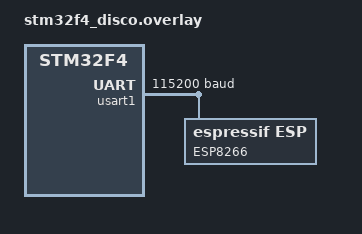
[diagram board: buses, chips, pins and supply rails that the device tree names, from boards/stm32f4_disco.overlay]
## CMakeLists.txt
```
# SPDX-License-Identifier: Apache-2.0

cmake_minimum_required(VERSION 3.13.1)
find_package(Zephyr HINTS $ENV{ZEPHYR_BASE})
project(iotclt_embedded)

target_sources(app PRIVATE
               src/main.c
               src/mqtt_publisher.c
               src/wifi_handling.c)
target_include_directories(app PUBLIC include)
```

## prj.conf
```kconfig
# Allow logging
CONFIG_LOG=y
CONFIG_EARLY_CONSOLE=y

# Turn on stm32f4 uart1
CONFIG_UART_1=y

# Bring in network stack
CONFIG_NETWORKING=y
CONFIG_NET_IPV4=y
CONFIG_NET_IPV6=n
# TCP required for MQTT
CONFIG_NET_TCP=y
CONFIG_NET_SOCKETS=y

CONFIG_NET_CONFIG_LOG_LEVEL_ERR=y

# Allow doing work when network events occur
CONFIG_NET_MGMT_EVENT=y

# ALL THE LOGS!!
#CONFIG_LOG_DEFAULT_LEVEL=4

# needed for `find_available_port`
CONFIG_TEST_RANDOM_GENERATOR=y

# Allow using the ESP as a slave modem
CONFIG_WIFI=y
CONFIG_WIFI_LOG_LEVEL_ERR=y
CONFIG_NET_L2_WIFI_SHELL=y
CONFIG_WIFI_ESP=y
CONFIG_WIFI_ESP_AT_VERSION_1_7=y
CONFIG_WIFI_ESP_AT_VERSION_2_0=n
CONFIG_MODEM_CONTEXT_VERBOSE_DEBUG=y

# MQTT
CONFIG_MQTT_LIB=y

# Network debug config
CONFIG_NET_SHELL=y
CONFIG_NET_LOG=y
CONFIG_NET_STATISTICS=y
CONFIG_NET_STATISTICS_PERIODIC_OUTPUT=n

# Make debugging not painful
# TODO if you disable optimizations you get a stac overflow on the esp worker thread
# To help with this should do something similar to https://github.com/zephyrproject-rtos/zephyr/issues/12820
# Tracking down where this is happening can be made easier with:
#CONFIG_THREAD_STACK_INFO=y
#CONFIG_THREAD_MONITOR=y
#CONFIG_KERNEL_SHELL=y
#CONFIG_INIT_STACKS=y
#CONFIG_THREAD_NAME=y
# TODO FIXME
#CONFIG_NO_OPTIMIZATIONS=y
```

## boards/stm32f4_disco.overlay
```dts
/*
 * Copyright (c) 2020 Eddy Scott
 *
 * SPDX-License-Identifier: Apache-2.0
 */

&usart1 {
	current-speed = <115200>;
	status = "okay";

	at_wfit: esp8266 {
		compatible = "espressif,esp";
		label = "ESP8266";

	};
};
```

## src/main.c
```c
/**
 * COPYRIGHTS AND PERMISSIONS:
 * Copyright 2020 Eddy Scott All rights reserved.

 *  This program is free software: you can redistribute it and/or modify
 *  it under the terms of the GNU General Public License as published by
 *  the Free Software Foundation, either version 3 of the License, or
 *  (at your option) any later version.

 *  This program is distributed in the hope that it will be useful,
 *  but WITHOUT ANY WARRANTY; without even the implied warranty of
 *  MERCHANTABILITY or FITNESS FOR A PARTICULAR PURPOSE.  See the
 *  GNU General Public License for more details.

 *  You should have received a copy of the GNU General Public License
 *  along with this program.  If not, see <https://www.gnu.org/licenses/>.
*/

#include <logging/log.h>
LOG_MODULE_REGISTER(main, LOG_LEVEL_DBG);

#include <zephyr.h>
#include <net/socket.h>
#include <net/mqtt.h>

#include <string.h>
#include <errno.h>
#include <net/wifi_mgmt.h>

#include "config.h"
#include "wifi_handling.h"

/* Buffers for MQTT client. */
static u8_t rx_buffer[APP_MQTT_BUFFER_SIZE];
static u8_t tx_buffer[APP_MQTT_BUFFER_SIZE];

/* The mqtt client struct */
static struct mqtt_client client_ctx;

/* MQTT Broker details. */
static struct sockaddr_storage broker;

static struct pollfd fds[1];
static int nfds;

static bool connected;

static void prepare_fds(struct mqtt_client *client)
{
  if (client->transport.type == MQTT_TRANSPORT_NON_SECURE) {
    fds[0].fd = client->transport.tcp.sock;
  }

  fds[0].events = ZSOCK_POLLIN;
  nfds = 1;
}

static void clear_fds(void)
{
  nfds = 0;
}

static int wait(int timeout)
{
  int ret = 0;

  if (nfds > 0) {
    ret = poll(fds, nfds, timeout);
    if (ret < 0) {
      LOG_ERR("poll error: %d", errno);
    }
  }

  return ret;
}

void mqtt_evt_handler(struct mqtt_client *const client,
                      const struct mqtt_evt *evt)
{
  int err;

  switch (evt->type) {
    case MQTT_EVT_CONNACK:
      if (evt->result != 0) {
        LOG_ERR("MQTT connect failed %d", evt->result);
        break;
      }

      connected = true;
      LOG_INF("MQTT client connected!");

      break;

    case MQTT_EVT_DISCONNECT:
      LOG_INF("MQTT client disconnected %d", evt->result);

      connected = false;
      clear_fds();

      break;

    case MQTT_EVT_PUBACK:
      if (evt->result != 0) {
        LOG_ERR("MQTT PUBACK error %d", evt->result);
        break;
      }

      LOG_INF("PUBACK packet id: %u", evt->param.puback.message_id);

      break;

    case MQTT_EVT_PUBREC:
      if (evt->result != 0) {
        LOG_ERR("MQTT PUBREC error %d", evt->result);
        break;
      }

      LOG_INF("PUBREC packet id: %u", evt->param.pubrec.message_id);

      const struct mqtt_pubrel_param rel_param = {
          .message_id = evt->param.pubrec.message_id
      };

      err = mqtt_publish_qos2_release(client, &rel_param);
      if (err != 0) {
        LOG_ERR("Failed to send MQTT PUBREL: %d", err);
      }

      break;

    case MQTT_EVT_PUBCOMP:
      if (evt->result != 0) {
        LOG_ERR("MQTT PUBCOMP error %d", evt->result);
        break;
      }

      LOG_INF("PUBCOMP packet id: %u",
              evt->param.pubcomp.message_id);

      break;

    case MQTT_EVT_PINGRESP:
      LOG_INF("PINGRESP packet");
      break;

    default:
      break;
  }
}

static char *get_mqtt_payload(enum mqtt_qos qos)
{
#if APP_BLUEMIX_TOPIC
  static char payload[30];

	snprintk(payload, sizeof(payload), "{d:{temperature:%d}}",
		 (u8_t)sys_rand32_get());
#else
  static char payload[] = "DOORS:OPEN_QoSx";

  payload[strlen(payload) - 1] = '0' + qos;
#endif

  return payload;
}

static char *get_mqtt_topic(void)
{
  return "sensors";
}

static int publish(struct mqtt_client *client, enum mqtt_qos qos)
{
  struct mqtt_publish_param param;

  param.message.topic.qos = qos;
  param.message.topic.topic.utf8 = (u8_t *)get_mqtt_topic();
  param.message.topic.topic.size =
      strlen(param.message.topic.topic.utf8);
  param.message.payload.data = get_mqtt_payload(qos);
  param.message.payload.len =
      strlen(param.message.payload.data);
  param.message_id = sys_rand32_get();
  param.dup_flag = 0U;
  param.retain_flag = 0U;

  return mqtt_publish(client, &param);
}

#define RC_STR(rc) ((rc) == 0 ? "OK" : "ERROR")

#define PRINT_RESULT(func, rc) \
	LOG_INF("%s: %d <%s>", (func), rc, RC_STR(rc))

static void broker_init(void)
{
  struct sockaddr_in *broker4 = (struct sockaddr_in *)&broker;

  broker4->sin_family = AF_INET;
  broker4->sin_port = htons(SERVER_PORT);
  inet_pton(AF_INET, SERVER_ADDR, &broker4->sin_addr);
}

static void client_init(struct mqtt_client *client)
{
  mqtt_client_init(client);

  broker_init();

  /* MQTT client configuration */
  client->broker = &broker;
  client->evt_cb = mqtt_evt_handler;
  client->client_id.utf8 = (u8_t *)MQTT_CLIENTID;
  client->client_id.size = strlen(MQTT_CLIENTID);
  client->password = NULL;
  client->user_name = NULL;
  client->protocol_version = MQTT_VERSION_3_1_1;

  /* MQTT buffers configuration */
  client->rx_buf = rx_buffer;
  client->rx_buf_size = sizeof(rx_buffer);
  client->tx_buf = tx_buffer;
  client->tx_buf_size = sizeof(tx_buffer);

  client->transport.type = MQTT_TRANSPORT_NON_SECURE;

}

/* In this routine we block until the connected variable is 1 */
static int try_to_connect(struct mqtt_client *client)
{
  int rc, i = 0;

  while (i++ < APP_CONNECT_TRIES && !connected) {

    client_init(client);

    rc = mqtt_connect(client);
    if (rc != 0) {
      PRINT_RESULT("mqtt_connect", rc);
      k_sleep(K_MSEC(APP_SLEEP_MSECS));
      continue;
    }

    prepare_fds(client);

    if (wait(APP_SLEEP_MSECS)) {
      mqtt_input(client);
    }

    if (!connected) {
      mqtt_abort(client);
    }
  }

  if (connected) {
    return 0;
  }

  return -EINVAL;
}

static int process_mqtt_and_sleep(struct mqtt_client *client, int timeout)
{
  s64_t remaining = timeout;
  s64_t start_time = k_uptime_get();
  int rc;

  while (remaining > 0 && connected) {
    if (wait(remaining)) {
      rc = mqtt_input(client);
      if (rc != 0) {
        PRINT_RESULT("mqtt_input", rc);
        return rc;
      }
    }

    rc = mqtt_live(client);
    if (rc != 0 && rc != -EAGAIN) {
      PRINT_RESULT("mqtt_live", rc);
      return rc;
    } else if (rc == 0) {
      rc = mqtt_input(client);
      if (rc != 0) {
        PRINT_RESULT("mqtt_input", rc);
        return rc;
      }
    }

    remaining = timeout + start_time - k_uptime_get();
  }

  return 0;
}

#define SUCCESS_OR_EXIT(rc) { if (rc != 0) { return 1; } }
#define SUCCESS_OR_BREAK(rc) { if (rc != 0) { break; } }

static int publisher(void)
{
  int i, rc, r = 0;

  LOG_INF("attempting to connect: ");
  rc = try_to_connect(&client_ctx);
  PRINT_RESULT("try_to_connect", rc);
  SUCCESS_OR_EXIT(rc);

  i = 0;
  while (i++ < 500 && connected) {
    r = -1;

    rc = mqtt_ping(&client_ctx);
    PRINT_RESULT("mqtt_ping", rc);
    SUCCESS_OR_BREAK(rc);

    rc = process_mqtt_and_sleep(&client_ctx, APP_SLEEP_MSECS);
    SUCCESS_OR_BREAK(rc);

    rc = publish(&client_ctx, MQTT_QOS_0_AT_MOST_ONCE);
    PRINT_RESULT("mqtt_publish", rc);
    SUCCESS_OR_BREAK(rc);

    rc = process_mqtt_and_sleep(&client_ctx, APP_SLEEP_MSECS);
    SUCCESS_OR_BREAK(rc);

    rc = publish(&client_ctx, MQTT_QOS_1_AT_LEAST_ONCE);
    PRINT_RESULT("mqtt_publish", rc);
    SUCCESS_OR_BREAK(rc);

    rc = process_mqtt_and_sleep(&client_ctx, APP_SLEEP_MSECS);
    SUCCESS_OR_BREAK(rc);

    rc = publish(&client_ctx, MQTT_QOS_2_EXACTLY_ONCE);
    PRINT_RESULT("mqtt_publish", rc);
    SUCCESS_OR_BREAK(rc);

    rc = process_mqtt_and_sleep(&client_ctx, APP_SLEEP_MSECS);
    SUCCESS_OR_BREAK(rc);

    r = 0;
  }

  rc = mqtt_disconnect(&client_ctx);
  PRINT_RESULT("mqtt_disconnect", rc);

  LOG_INF("Bye!");

  return r;
}

void main(void)
{

	InitNetHandlers();
	FindWifiIface();
    static struct wifi_connect_req_params params;
    params.ssid = "BigTank2.3";
    params.ssid_length = strlen(params.ssid);
    params.channel = WIFI_CHANNEL_ANY;
    params.psk = "pufferfish";
    params.psk_length = strlen(params.psk);
    params.security = WIFI_SECURITY_TYPE_PSK;
    WifiConnect(&params, -1);

  while (1) {
    publisher();

    k_sleep(K_MSEC(5000));
  }

}
```

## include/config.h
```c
/*
 * Copyright (c) 2017 Intel Corporation
 *
 * SPDX-License-Identifier: Apache-2.0
 */

#ifndef __CONFIG_H__
#define __CONFIG_H__

#define ZEPHYR_ADDR		"192.168.1.101"
#define SERVER_ADDR		"192.168.1.17"


#define SERVER_PORT		1883

#define APP_SLEEP_MSECS		500
#define APP_TX_RX_TIMEOUT       300
#define APP_NET_INIT_TIMEOUT    10000

#define APP_CONNECT_TRIES	10

#define APP_MQTT_BUFFER_SIZE	128

#define MQTT_CLIENTID		"zephyr_publisher"

/* Set the following to 1 to enable the Bluemix topic format */
#define APP_BLUEMIX_TOPIC	0

/* These are the parameters for the Bluemix topic format */
#if APP_BLUEMIX_TOPIC
#define BLUEMIX_DEVTYPE		"sensor"
#define BLUEMIX_DEVID		"carbon"
#define BLUEMIX_EVENT		"status"
#define BLUEMIX_FORMAT		"json"
#endif

#endif
```

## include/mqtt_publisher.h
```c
/**
 * COPYRIGHTS AND PERMISSIONS:
 * Copyright 2020 Eddy Scott All rights reserved.

 *  This program is free software: you can redistribute it and/or modify
 *  it under the terms of the GNU General Public License as published by
 *  the Free Software Foundation, either version 3 of the License, or
 *  (at your option) any later version.

 *  This program is distributed in the hope that it will be useful,
 *  but WITHOUT ANY WARRANTY; without even the implied warranty of
 *  MERCHANTABILITY or FITNESS FOR A PARTICULAR PURPOSE.  See the
 *  GNU General Public License for more details.

 *  You should have received a copy of the GNU General Public License
 *  along with this program.  If not, see <https://www.gnu.org/licenses/>.
*/
#ifndef IOTCLT_EMBEDDED_INCLUDE_MQTT_PUBLISHER_H_
#define IOTCLT_EMBEDDED_INCLUDE_MQTT_PUBLISHER_H_

/**
 * Initializes the MQTT broker network details.  This will be the network
 * information used by the publisher in order to connect to the MQTT network
 * @param broker_ip: the IPv4 address of the MQTT broker
 * @param broker_port: the port of the MQTT broker
 */
void InitBrokerIpv4Details(const char* broker_ip, int broker_port);

/**
 * Initializes the MQTT client impementation details
 * @details things like mutex initialization, version specification, etc
 * @param client_id: the MQTT client id.  See MQTT docs
 * @param username: the MQTT username.  NULL indicates no user name
 * @param password: the MQTT password.  NULL indicates no password
 */
void MqttImplInit(const char* client_id, const char* username, const char* password);

#endif //IOTCLT_EMBEDDED_INCLUDE_MQTT_PUBLISHER_H_
```

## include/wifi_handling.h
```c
/**
 * COPYRIGHTS AND PERMISSIONS:
 * Copyright 2020 Eddy Scott All rights reserved.

 *  This program is free software: you can redistribute it and/or modify
 *  it under the terms of the GNU General Public License as published by
 *  the Free Software Foundation, either version 3 of the License, or
 *  (at your option) any later version.

 *  This program is distributed in the hope that it will be useful,
 *  but WITHOUT ANY WARRANTY; without even the implied warranty of
 *  MERCHANTABILITY or FITNESS FOR A PARTICULAR PURPOSE.  See the
 *  GNU General Public License for more details.

 *  You should have received a copy of the GNU General Public License
 *  along with this program.  If not, see <https://www.gnu.org/licenses/>.
*/
#ifndef IOTCLT_EMBEDDED_SRC_WIFI_HANDLING_H_
#define IOTCLT_EMBEDDED_SRC_WIFI_HANDLING_H_

/**
 * Initialization of network event handlers.  This must be called prior to any other wifi_handling APIs
 */
void InitNetHandlers();

/**
 * @brief finds the wifi interface to use
 * @return 0 if success, else -ENXIO
 */
int FindWifiIface();

/**
 * @brief scans available networks using the wifi iface
 */
void ScanNetworks();

/**
 * @brief connect to the provided network, waiting for at most the provided ms.  -1 ms means wait forever
 * @details this function considers the connection established when the network stack has indicated a connection
 *          event and an ipv4 address event
 * @param wifi_params: all the details about the network to connect to
 * @param timeout_ms: the amount of time to wait for. -1 for infinite wait
 * @return 0 on success
 */
int WifiConnect(struct wifi_connect_req_params* wifi_params, int timeout_ms);

#endif //IOTCLT_EMBEDDED_SRC_WIFI_HANDLING_H_
```

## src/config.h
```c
/*
 * Copyright (c) 2017 Intel Corporation
 *
 * SPDX-License-Identifier: Apache-2.0
 */

#ifndef __CONFIG_H__
#define __CONFIG_H__

#ifdef CONFIG_NET_CONFIG_SETTINGS
#ifdef CONFIG_NET_IPV6
#define ZEPHYR_ADDR		CONFIG_NET_CONFIG_MY_IPV6_ADDR
#define SERVER_ADDR		CONFIG_NET_CONFIG_PEER_IPV6_ADDR
#else
#define ZEPHYR_ADDR		CONFIG_NET_CONFIG_MY_IPV4_ADDR
#define SERVER_ADDR		CONFIG_NET_CONFIG_PEER_IPV4_ADDR
#endif
#else
#ifdef CONFIG_NET_IPV6
#define ZEPHYR_ADDR		"2001:db8::1"
#define SERVER_ADDR		"2001:db8::2"
#else
#define ZEPHYR_ADDR		"192.168.1.101"
#define SERVER_ADDR		"192.168.1.17"
#endif
#endif

#if defined(CONFIG_SOCKS)
#define SOCKS5_PROXY_ADDR	SERVER_ADDR
#define SOCKS5_PROXY_PORT	1080
#endif

#ifdef CONFIG_MQTT_LIB_TLS
#ifdef CONFIG_MQTT_LIB_WEBSOCKET
#define SERVER_PORT		9001
#else
#define SERVER_PORT		8883
#endif /* CONFIG_MQTT_LIB_WEBSOCKET */
#else
#ifdef CONFIG_MQTT_LIB_WEBSOCKET
#define SERVER_PORT		9001
#else
#define SERVER_PORT		1883
#endif /* CONFIG_MQTT_LIB_WEBSOCKET */
#endif

#define APP_SLEEP_MSECS		500
#define APP_TX_RX_TIMEOUT       300
#define APP_NET_INIT_TIMEOUT    10000

#define APP_CONNECT_TRIES	10

#define APP_MQTT_BUFFER_SIZE	128

#define MQTT_CLIENTID		"zephyr_publisher"

/* Set the following to 1 to enable the Bluemix topic format */
#define APP_BLUEMIX_TOPIC	0

/* These are the parameters for the Bluemix topic format */
#if APP_BLUEMIX_TOPIC
#define BLUEMIX_DEVTYPE		"sensor"
#define BLUEMIX_DEVID		"carbon"
#define BLUEMIX_EVENT		"status"
#define BLUEMIX_FORMAT		"json"
#endif

#endif
```

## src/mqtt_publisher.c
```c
/**
 * COPYRIGHTS AND PERMISSIONS:
 * Copyright 2020 Eddy Scott All rights reserved.

 *  This program is free software: you can redistribute it and/or modify
 *  it under the terms of the GNU General Public License as published by
 *  the Free Software Foundation, either version 3 of the License, or
 *  (at your option) any later version.

 *  This program is distributed in the hope that it will be useful,
 *  but WITHOUT ANY WARRANTY; without even the implied warranty of
 *  MERCHANTABILITY or FITNESS FOR A PARTICULAR PURPOSE.  See the
 *  GNU General Public License for more details.

 *  You should have received a copy of the GNU General Public License
 *  along with this program.  If not, see <https://www.gnu.org/licenses/>.
*/

#include "mqtt_publisher.h"

#include <assert.h>
#include <logging/log.h>
#include <net/mqtt.h>
#include <net/net_ip.h>
#include <net/socket.h>

LOG_MODULE_REGISTER(mqtt_publisher, LOG_LEVEL_DBG);

/// The MQTT broker network details
static struct sockaddr_in g_broker_net_details = {};

/// The MQTT client context for this publisher
static struct mqtt_client g_publisher_context;

// TODO hook into kconfig
static u8_t rx_buffer[128];
static u8_t tx_buffer[128];

void InitBrokerIpv4Details(const char* broker_ip, int broker_port) {
  assert(broker_ip != NULL);

  g_broker_net_details.sin_family = AF_INET;
  g_broker_net_details.sin_port = htons(broker_port);
  inet_pton(AF_INET, broker_ip, &(g_broker_net_details.sin_addr));
}

void MqttImplInit(const char* client_id, const char* username, const char* password) {
  mqtt_client_init(&g_publisher_context);

  /* MQTT client configuration */
  g_publisher_context.broker = &g_broker_net_details;
  g_publisher_context.client_id.utf8 = (u8_t *)client_id;
  g_publisher_context.client_id.size = strlen(client_id);

  if(password) {
    // TODO support passwords
    LOG_ERR("Don't support passwords, everything is probably broken");
  } else {
    g_publisher_context.password = NULL;
  }

  if(username) {
    // TODO support usernames
    LOG_ERR("Don't support usernames, everything is probably broken");
  } else {
    g_publisher_context.user_name = NULL;
  }

  g_publisher_context.protocol_version = MQTT_VERSION_3_1_1;

  /* MQTT buffers configuration */
  g_publisher_context.rx_buf = rx_buffer;
  g_publisher_context.rx_buf_size = sizeof(rx_buffer);
  g_publisher_context.tx_buf = tx_buffer;
  g_publisher_context.tx_buf_size = sizeof(tx_buffer);

  g_publisher_context.transport.type = MQTT_TRANSPORT_NON_SECURE;

  // TODO: this
  g_publisher_context.evt_cb = mqtt_evt_handler;
}
```

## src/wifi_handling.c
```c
/**
 * COPYRIGHTS AND PERMISSIONS:
 * Copyright 2020 Eddy Scott All rights reserved.

 *  This program is free software: you can redistribute it and/or modify
 *  it under the terms of the GNU General Public License as published by
 *  the Free Software Foundation, either version 3 of the License, or
 *  (at your option) any later version.

 *  This program is distributed in the hope that it will be useful,
 *  but WITHOUT ANY WARRANTY; without even the implied warranty of
 *  MERCHANTABILITY or FITNESS FOR A PARTICULAR PURPOSE.  See the
 *  GNU General Public License for more details.

 *  You should have received a copy of the GNU General Public License
 *  along with this program.  If not, see <https://www.gnu.org/licenses/>.
*/

#include <logging/log.h>
#include <net/net_if.h>
#include <net/net_mgmt.h>
#include <net/wifi_mgmt.h>
#include "wifi_handling.h"

LOG_MODULE_REGISTER(wifi_handling, LOG_LEVEL_DBG);

/// A semaphore used to wait a thread until an IPv4 address is found
K_SEM_DEFINE(sem_ipv4_address_found, 0, 1);

/// A semaphore used to wait a thread until wifi has connected
K_SEM_DEFINE(sem_wifi_connected, 0, 1);

#define WIFI_HANDLING_EVENTS (NET_EVENT_WIFI_SCAN_RESULT |		\
				NET_EVENT_WIFI_SCAN_DONE |		    \
				NET_EVENT_WIFI_CONNECT_RESULT |		\
				NET_EVENT_WIFI_DISCONNECT_RESULT)

#define IPV4_HANDLING_EVENTS (NET_EVENT_IPV4_ADDR_ADD | NET_EVENT_IPV4_ADDR_DEL)

/**
 * The wifi interface used for all wifi related comms
 */
static struct net_if *g_wifi_iface = NULL;

/**
 * Flag indicating that the wifi iface has an ipv4 addr
 */
static bool g_have_ipv4_addr = false;

/**
 * Flag indicating that the wifi iface has connected to a network
 */
static bool g_wifi_connected = false;
/// The latest status that was reported when the last request to connect to wifi completed
static struct wifi_status g_latest_wifi_connect_status = {0};

/**
 * @brief Callback handler for when an IPv4 address has been assigned to a network interface
 */
static void HandleIpv4AddrAdd(struct net_if *iface) {

  for (int i = 0; i < NET_IF_MAX_IPV4_ADDR; i++) {
    char buf[NET_IPV4_ADDR_LEN];
    struct net_if_addr *if_addr =
        &iface->config.ip.ipv4->unicast[i];

    if (if_addr->addr_type != NET_ADDR_DHCP || !if_addr->is_used) {
      continue;
    }

    g_have_ipv4_addr = true;
    LOG_INF("Assigned Address: %s",
            log_strdup(net_addr_ntop(AF_INET,
                                     &iface->config.ip.ipv4->unicast[i].address.in_addr,
                                     buf, sizeof(buf))));
    LOG_INF("Subnet: %s",
            log_strdup(net_addr_ntop(AF_INET,
                                     &iface->config.ip.ipv4->netmask,
                                     buf, sizeof(buf))));
    LOG_INF("Router: %s",
            log_strdup(net_addr_ntop(AF_INET,
                                     &iface->config.ip.ipv4->gw,
                                     buf, sizeof(buf))));
  }

  k_sem_give(&sem_ipv4_address_found);
}

/**
 * @brief Callback handler for when an interface goes up
 */
static void HandleIfaceUp() {
  LOG_INF("Iface up");
}

/**
 * @brief Callback handler for when an interface goes down
 */
static void HandleIfaceDown() {
  LOG_INF("Iface down");
}

static void HandleWifiScanResult(struct net_mgmt_event_callback *cb)
{
  const struct wifi_scan_result *entry =
      (const struct wifi_scan_result *)cb->info;

  LOG_DBG("Scan Result: %s", entry->ssid);
  LOG_DBG("SSID: %s", entry->ssid);
  LOG_DBG("RSSI: %d", entry->rssi);
  LOG_DBG("Channel: %d", entry->channel);
  LOG_DBG("Security: %s", (entry->security == WIFI_SECURITY_TYPE_PSK ?
                           "WPA/WPA2" : "Open"));
}

static void HandleWifiScanDone(struct net_mgmt_event_callback *cb)
{
  const struct wifi_status *status =
      (const struct wifi_status *)cb->info;

  if (status->status) {
    LOG_WRN("Scan request failed (%d)\n", status->status);
  } else {
    LOG_DBG("Scan request done (%d)\n", status->status);
  }
}

static void HandleWifiConnectResult(struct net_mgmt_event_callback *cb)
{
  g_latest_wifi_connect_status =
      *(const struct wifi_status *) cb->info;
  if (g_latest_wifi_connect_status.status == 0) {
    LOG_DBG("Connected");
    g_wifi_connected = true;
  } else {
    LOG_WRN("Connection request failed (%d)", g_latest_wifi_connect_status.status);
  }

  k_sem_give(&sem_wifi_connected);
}

static void HandleWifiDisconnectResult(struct net_mgmt_event_callback *cb)
{
  const struct wifi_status *status =
      (const struct wifi_status *) cb->info;

  LOG_DBG("Disconnection request %s (%d)\n",
          status->status ? "failed" : "done",
          status->status);
}

/**
 * @brief Callback handler for wifi events
 */
static struct net_mgmt_event_callback wifi_event_handler;
static void WifiEventCallback(struct net_mgmt_event_callback *cb,
                              u32_t mgmt_event,
                              struct net_if *iface) {

  switch (mgmt_event) {
    case NET_EVENT_WIFI_SCAN_RESULT:
      HandleWifiScanResult(cb);
      break;
    case NET_EVENT_WIFI_SCAN_DONE:
      HandleWifiScanDone(cb);
      break;
    case NET_EVENT_WIFI_CONNECT_RESULT:
      HandleWifiConnectResult(cb);
      break;
    case NET_EVENT_WIFI_DISCONNECT_RESULT:
      HandleWifiDisconnectResult(cb);
      break;
    default:
      break;
  }
}

static struct net_mgmt_event_callback ipv4_event_handler;
static void Ipv4EventCallback(struct net_mgmt_event_callback *cb,
                              u32_t mgmt_event,
                              struct net_if *iface) {
  switch (mgmt_event) {
    case NET_EVENT_IPV4_ADDR_ADD:
      HandleIpv4AddrAdd(iface);
      break;
    case NET_EVENT_IPV4_ADDR_DEL:
      LOG_INF("IPV4 ADDR DEL");
      break;
    default:
      break;
  }
}

int FindWifiIface() {
  // Assume we only have wifi
  g_wifi_iface = net_if_get_default();
  if(g_wifi_iface) {
    return 0;
  }
  return -ENXIO;
}

void InitNetHandlers() {
  net_mgmt_init_event_callback(&wifi_event_handler, WifiEventCallback,
                               WIFI_HANDLING_EVENTS);
  net_mgmt_add_event_callback(&wifi_event_handler);
  net_mgmt_init_event_callback(&ipv4_event_handler, Ipv4EventCallback,
                               IPV4_HANDLING_EVENTS);
  net_mgmt_add_event_callback(&ipv4_event_handler);
}

void ScanNetworks() {
  if(!g_wifi_iface) {
    return;
  }

  if (net_mgmt(NET_REQUEST_WIFI_SCAN, g_wifi_iface, NULL, 0)) {
    LOG_ERR("Scan request failed");
    return;
  } else {
    LOG_INF("Scan requested");
  }

}

int WifiConnect(struct wifi_connect_req_params* wifi_params, int timeout_ms) {
  if(wifi_params == NULL) {
    LOG_DBG("Invlaid wifi params");
    return -EBADF;
  }

  if(g_wifi_iface == NULL) {
    LOG_ERR("Failed to find wifi iface prior to call");
    return -ENXIO;
  }

  int submission_ret = net_mgmt(NET_REQUEST_WIFI_CONNECT, g_wifi_iface,
               wifi_params, sizeof(struct wifi_connect_req_params));
  if(submission_ret) {
    LOG_DBG("net_mgmt failed for ssid: %s", wifi_params->ssid);
    return submission_ret;
  }

  k_timeout_t wait_period;
  if(timeout_ms == -1) {
    wait_period = K_FOREVER;
  } else {
    wait_period = K_MSEC(timeout_ms);
  }

  int ret = k_sem_take(&sem_wifi_connected, wait_period);
  if(ret != 0) {
    return ret;
  } else if(g_wifi_connected != true) {
    return g_latest_wifi_connect_status.status;
  }

  // Also need to make sure that we get a valid ipv4 address
  ret = k_sem_take(&sem_ipv4_address_found, wait_period);
  if(ret != 0) {
    return ret;
  } else if(g_have_ipv4_addr != true) {
    return -EIO;
  }
}
```

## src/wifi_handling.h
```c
/**
 * COPYRIGHTS AND PERMISSIONS:
 * Copyright 2020 Eddy Scott All rights reserved.

 *  This program is free software: you can redistribute it and/or modify
 *  it under the terms of the GNU General Public License as published by
 *  the Free Software Foundation, either version 3 of the License, or
 *  (at your option) any later version.

 *  This program is distributed in the hope that it will be useful,
 *  but WITHOUT ANY WARRANTY; without even the implied warranty of
 *  MERCHANTABILITY or FITNESS FOR A PARTICULAR PURPOSE.  See the
 *  GNU General Public License for more details.

 *  You should have received a copy of the GNU General Public License
 *  along with this program.  If not, see <https://www.gnu.org/licenses/>.
*/
#ifndef IOTCLT_EMBEDDED_SRC_WIFI_HANDLING_H_
#define IOTCLT_EMBEDDED_SRC_WIFI_HANDLING_H_

void

#endif //IOTCLT_EMBEDDED_SRC_WIFI_HANDLING_H_
```
